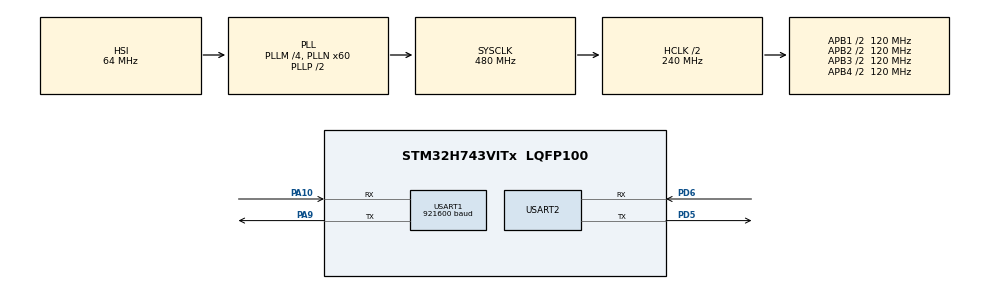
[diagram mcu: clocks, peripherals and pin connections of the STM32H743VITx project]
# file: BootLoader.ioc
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CORTEX_M7.default_mode_Activation=1
CRC.InputDataFormat=CRC_INPUTDATA_FORMAT_WORDS
Dma.Request0=USART1_RX
Dma.Request1=USART1_TX
Dma.USART1_RX.0.Direction=DMA_PERIPH_TO_MEMORY
Dma.USART1_RX.0.EventEnable=DISABLE
Dma.USART1_RX.0.FIFOMode=DMA_FIFOMODE_DISABLE
Dma.USART1_RX.0.Instance=DMA2_Stream0
Dma.USART1_RX.0.MemDataAlignment=DMA_MDATAALIGN_BYTE
Dma.USART1_RX.0.MemInc=DMA_MINC_ENABLE
Dma.USART1_RX.0.Mode=DMA_NORMAL
Dma.USART1_RX.0.PeriphDataAlignment=DMA_PDATAALIGN_BYTE
Dma.USART1_RX.0.PeriphInc=DMA_PINC_DISABLE
Dma.USART1_RX.0.Polarity=HAL_DMAMUX_REQ_GEN_RISING
Dma.USART1_RX.0.Priority=DMA_PRIORITY_LOW
Dma.USART1_RX.0.RequestNumber=1
Dma.USART1_RX.0.SignalID=NONE
Dma.USART1_RX.0.SyncEnable=DISABLE
Dma.USART1_RX.0.SyncPolarity=HAL_DMAMUX_SYNC_NO_EVENT
Dma.USART1_RX.0.SyncRequestNumber=1
Dma.USART1_RX.0.SyncSignalID=NONE
Dma.USART1_TX.1.Direction=DMA_MEMORY_TO_PERIPH
Dma.USART1_TX.1.EventEnable=DISABLE
Dma.USART1_TX.1.FIFOMode=DMA_FIFOMODE_DISABLE
Dma.USART1_TX.1.Instance=DMA2_Stream1
Dma.USART1_TX.1.MemDataAlignment=DMA_MDATAALIGN_BYTE
Dma.USART1_TX.1.MemInc=DMA_MINC_ENABLE
Dma.USART1_TX.1.Mode=DMA_NORMAL
Dma.USART1_TX.1.PeriphDataAlignment=DMA_PDATAALIGN_BYTE
Dma.USART1_TX.1.PeriphInc=DMA_PINC_DISABLE
Dma.USART1_TX.1.Polarity=HAL_DMAMUX_REQ_GEN_RISING
Dma.USART1_TX.1.Priority=DMA_PRIORITY_LOW
Dma.USART1_TX.1.RequestNumber=1
Dma.USART1_TX.1.SignalID=NONE
Dma.USART1_TX.1.SyncEnable=DISABLE
Dma.USART1_TX.1.SyncPolarity=HAL_DMAMUX_SYNC_NO_EVENT
Dma.USART1_TX.1.SyncRequestNumber=1
Dma.USART1_TX.1.SyncSignalID=NONE
IWDG1.Prescaler=IWDG_PRESCALER_64
Mcu.Family=STM32H7
Mcu.Name=STM32H743VITx
Mcu.Package=LQFP100
NVIC.DMA2_Stream0_IRQn=true\:5\:0\:true\:false\:true\:false\:true\:true
NVIC.DMA2_Stream1_IRQn=true\:5\:0\:true\:false\:true\:false\:true\:true
NVIC.PriorityGroup=NVIC_PRIORITYGROUP_4
NVIC.USART1_IRQn=true\:5\:0\:true\:false\:true\:true\:true\:true
PA10.Mode=Asynchronous
PA10.Signal=USART1_RX
PA13\ (JTMS/SWDIO).Mode=Serial_Wire
PA13\ (JTMS/SWDIO).Signal=DEBUG_JTMS-SWDIO
PA14\ (JTCK/SWCLK).Mode=Serial_Wire
PA14\ (JTCK/SWCLK).Signal=DEBUG_JTCK-SWCLK
PA9.Mode=Asynchronous
PA9.Signal=USART1_TX
PD5.Mode=Asynchronous
PD5.Signal=USART2_TX
PD6.Mode=Asynchronous
PD6.Signal=USART2_RX
PH0-OSC_IN\ (PH0).Mode=HSE-External-Oscillator
PH0-OSC_IN\ (PH0).Signal=RCC_OSC_IN
PH1-OSC_OUT\ (PH1).Mode=HSE-External-Oscillator
PH1-OSC_OUT\ (PH1).Signal=RCC_OSC_OUT
ProjectManager.HeapSize=0x200
ProjectManager.StackSize=0x400
ProjectManager.TargetToolchain=MDK-ARM V5
RCC.ADCFreq_Value=129000000
RCC.APB1Freq_Value=120000000
RCC.APB2Freq_Value=120000000
RCC.APB3Freq_Value=120000000
RCC.APB4Freq_Value=120000000
RCC.CortexFreq_Value=480000000
RCC.D1PPRE=RCC_APB3_DIV2
RCC.D2PPRE1=RCC_APB1_DIV2
RCC.D2PPRE2=RCC_APB2_DIV2
RCC.D3PPRE=RCC_APB4_DIV2
RCC.DIVM1=4
RCC.DIVN1=60
RCC.HCLKFreq_Value=240000000
RCC.HPRE=RCC_HCLK_DIV2
RCC.HSE_VALUE=25000000
RCC.PLL2FRACN=0
RCC.PLL3FRACN=0
RCC.PLLFRACN=0
RCC.SYSCLKFreq_VALUE=480000000
RCC.SYSCLKSource=RCC_SYSCLKSOURCE_PLLCLK
RCC.USBFreq_Value=480000000
USART1.BaudRate=921600
USART1.Parity=PARITY_EVEN
USART1.StopBits=STOPBITS_2
USART1.VirtualMode-Asynchronous=VM_ASYNC
USART1.WordLength=WORDLENGTH_9B
USART2.VirtualMode-Asynchronous=VM_ASYNC
VP_CRC_VS_CRC.Mode=CRC_Activate
VP_IWDG1_VS_IWDG.Mode=IWDG_Activate
VP_MEMORYMAP_VS_MEMORYMAP.Mode=CurAppReg
board=custom

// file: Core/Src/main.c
/* USER CODE BEGIN Header */
/**
 ******************************************************************************
 * @file           : main.c
 * @brief          : Main program body
 ******************************************************************************
 * @attention
 *
 * Copyright (c) 2025 STMicroelectronics.
 * All rights reserved.
 *
 * This software is licensed under terms that can be found in the LICENSE file
 * in the root directory of this software component.
 * If no LICENSE file comes with this software, it is provided AS-IS.
 *
 ******************************************************************************
 */
/* USER CODE END Header */
#include "main.h"
#include "crc.h"
#include "dma.h"
#include "memorymap.h"
#include "usart.h"
#include "gpio.h"

/* USER CODE BEGIN Includes */
#include "stdio.h"
#include "string.h"
#include "global_cfg.h"
#include "flash.h"
#include "stdarg.h"
#include "JumpApp.h"
#include "PC_interface.h"
/* USER CODE END Includes */

/* USER CODE BEGIN PV */
mem_cfg_t mem_cfg = {

    .bootloader_address = BL_ADDR,
    .app1_address = APP1_ADDR,
    .app2_address = APP2_ADDR,
    .cfg_address = CFG_ADDR,
};
mem_cfg_t mem_cfg_mirror;
cli_para_t cli_para;
/* USER CODE END PV */

void SystemClock_Config(void);
static void MPU_Config(void);

/* USER CODE BEGIN 0 */
uint32_t test_size = 0;
void crc_test_func()
{
  if (test_size != 0)
  {
    uint32_t _crc = HAL_CRC_Calculate(&hcrc, mem_cfg.app1_address, (test_size + 3) / 4);
    info_printf("CRC of APP1 size 0x%X: 0x%08X\r\n", test_size, _crc);
    _crc = HAL_CRC_Calculate(&hcrc, mem_cfg.app2_address, (test_size + 3) / 4);
    info_printf("CRC of APP2 size 0x%X: 0x%08X\r\n", test_size, _crc);
    test_size = 0;
  }
}

/* USER CODE END 0 */

int main(void)
{

  /* MPU Configuration--------------------------------------------------------*/
  MPU_Config();

  /* MCU Configuration--------------------------------------------------------*/

  /* Reset of all peripherals, Initializes the Flash interface and the Systick. */
  HAL_Init();

  /* Configure the system clock */
  SystemClock_Config();

  /* Initialize all configured peripherals */
  MX_GPIO_Init();
  MX_DMA_Init();
  MX_USART1_UART_Init();
  MX_USART2_UART_Init();
  MX_CRC_Init();
  /* USER CODE BEGIN 2 */
  info_printf("BootLoader Running...\r\n");
  info_printf("Read Config...\r\n");
  mem_cfg_init();
  mem_cfg_show();
  info_printf("Check App...\r\n");
  Check_Jump_to_APP();

  upgrade_ini();
  Enable_UART1_Receive();
  // uint32_t ttxx = 0x00ff1b00;
  // uint32_t crc_ttxx = HAL_CRC_Calculate(&hcrc, &ttxx, 1);
  // info_printf("crc(0x00ff1b00) = 0x%x\r\n",crc_ttxx);
  // ttxx = 0xff001bdd;
  // crc_ttxx = HAL_CRC_Accumulate(&hcrc, &ttxx, 1);
  // info_printf("crc(0xff001bdd) = 0x%x\r\n",crc_ttxx);
  /* USER CODE END 2 */

  /* Infinite loop */
  /* USER CODE BEGIN WHILE */
  while (1)
  {

    pc_parse_and_execute_command2();
    Delay_ms(1);
    crc_test_func();
    /* USER CODE END WHILE */

  }
}

void SystemClock_Config(void)
{
  RCC_OscInitTypeDef RCC_OscInitStruct = {0};
  RCC_ClkInitTypeDef RCC_ClkInitStruct = {0};

  /** Supply configuration update enable
   */
  HAL_PWREx_ConfigSupply(PWR_LDO_SUPPLY);

  /** Configure the main internal regulator output voltage
   */
  __HAL_PWR_VOLTAGESCALING_CONFIG(PWR_REGULATOR_VOLTAGE_SCALE0);

  while (!__HAL_PWR_GET_FLAG(PWR_FLAG_VOSRDY))
  {
  }

  /** Initializes the RCC Oscillators according to the specified parameters
   * in the RCC_OscInitTypeDef structure.
   */
  RCC_OscInitStruct.OscillatorType = RCC_OSCILLATORTYPE_HSI | RCC_OSCILLATORTYPE_LSI;
  RCC_OscInitStruct.HSIState = RCC_HSI_DIV1;
  RCC_OscInitStruct.HSICalibrationValue = RCC_HSICALIBRATION_DEFAULT;
  RCC_OscInitStruct.LSIState = RCC_LSI_ON;
  RCC_OscInitStruct.PLL.PLLState = RCC_PLL_ON;
  RCC_OscInitStruct.PLL.PLLSource = RCC_PLLSOURCE_HSI;
  RCC_OscInitStruct.PLL.PLLM = 4;
  RCC_OscInitStruct.PLL.PLLN = 60;
  RCC_OscInitStruct.PLL.PLLP = 2;
  RCC_OscInitStruct.PLL.PLLQ = 2;
  RCC_OscInitStruct.PLL.PLLR = 2;
  RCC_OscInitStruct.PLL.PLLRGE = RCC_PLL1VCIRANGE_3;
  RCC_OscInitStruct.PLL.PLLVCOSEL = RCC_PLL1VCOWIDE;
  RCC_OscInitStruct.PLL.PLLFRACN = 0;
  if (HAL_RCC_OscConfig(&RCC_OscInitStruct) != HAL_OK)
  {
    Error_Handler();
  }

  /** Initializes the CPU, AHB and APB buses clocks
   */
  RCC_ClkInitStruct.ClockType = RCC_CLOCKTYPE_HCLK | RCC_CLOCKTYPE_SYSCLK | RCC_CLOCKTYPE_PCLK1 | RCC_CLOCKTYPE_PCLK2 | RCC_CLOCKTYPE_D3PCLK1 | RCC_CLOCKTYPE_D1PCLK1;
  RCC_ClkInitStruct.SYSCLKSource = RCC_SYSCLKSOURCE_PLLCLK;
  RCC_ClkInitStruct.SYSCLKDivider = RCC_SYSCLK_DIV1;
  RCC_ClkInitStruct.AHBCLKDivider = RCC_HCLK_DIV2;
  RCC_ClkInitStruct.APB3CLKDivider = RCC_APB3_DIV2;
  RCC_ClkInitStruct.APB1CLKDivider = RCC_APB1_DIV2;
  RCC_ClkInitStruct.APB2CLKDivider = RCC_APB2_DIV2;
  RCC_ClkInitStruct.APB4CLKDivider = RCC_APB4_DIV2;

  if (HAL_RCC_ClockConfig(&RCC_ClkInitStruct, FLASH_LATENCY_4) != HAL_OK)
  {
    Error_Handler();
  }
}

/* MPU Configuration */

void MPU_Config(void)
{
  MPU_Region_InitTypeDef MPU_InitStruct = {0};

  /* Disables the MPU */
  HAL_MPU_Disable();

  /** Initializes and configures the Region and the memory to be protected
   */
  MPU_InitStruct.Enable = MPU_REGION_ENABLE;
  MPU_InitStruct.Number = MPU_REGION_NUMBER0;
  MPU_InitStruct.BaseAddress = 0x0;
  MPU_InitStruct.Size = MPU_REGION_SIZE_4GB;
  MPU_InitStruct.SubRegionDisable = 0x87;
  MPU_InitStruct.TypeExtField = MPU_TEX_LEVEL0;
  MPU_InitStruct.AccessPermission = MPU_REGION_NO_ACCESS;
  MPU_InitStruct.DisableExec = MPU_INSTRUCTION_ACCESS_DISABLE;
  MPU_InitStruct.IsShareable = MPU_ACCESS_SHAREABLE;
  MPU_InitStruct.IsCacheable = MPU_ACCESS_NOT_CACHEABLE;
  MPU_InitStruct.IsBufferable = MPU_ACCESS_NOT_BUFFERABLE;

  HAL_MPU_ConfigRegion(&MPU_InitStruct);
  /* Enables the MPU */
  HAL_MPU_Enable(MPU_PRIVILEGED_DEFAULT);
}

void Error_Handler(void)
{
  __disable_irq();
  while (1)
  {
  }
}
